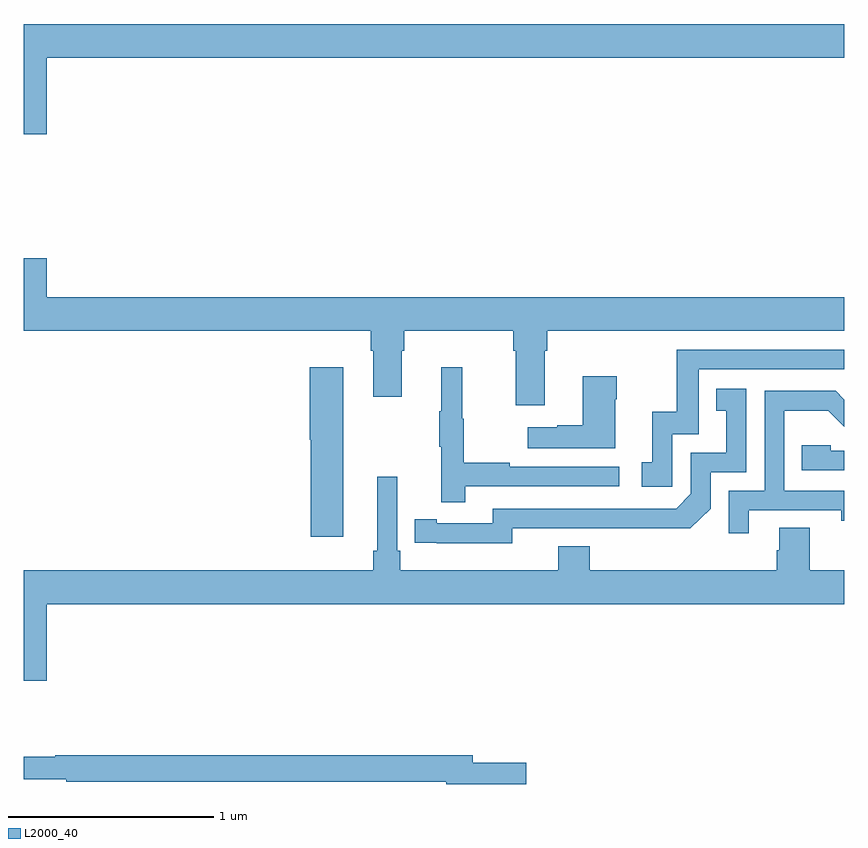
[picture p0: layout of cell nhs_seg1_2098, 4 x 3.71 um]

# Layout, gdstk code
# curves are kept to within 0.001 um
import gdstk
lib = gdstk.Library(unit=1e-6, precision=1e-09)
def P(c, l, *ps):  # polygons
    for p in ps: c.add(gdstk.Polygon(p, *l))
L2000_40 = (2000, 40)

nhs_seg1_2098 = lib.new_cell('nhs_seg1_2098')
P(nhs_seg1_2098, L2000_40, [(225.112,543.74),(229,543.74),(229,543.904),(225,543.904),(225,543.366),(225.112,543.366)],
  [(227.539,542.312),(227.552,542.312),(227.552,542.408),(229,542.408),(229,542.572),(225.112,542.572),(225.112,542.761),(225,542.761),(225,542.408),(226.691,542.408),(226.691,542.312),(226.703,542.312),(226.703,542.088),(226.843,542.088),(226.843,542.312),(226.856,542.312),(226.856,542.408),(227.387,542.408),(227.387,542.312),(227.399,542.312),(227.399,542.046),(227.539,542.046)],
  [(228.162,541.905),(228.291,541.905),(228.291,542.22),(229,542.22),(229,542.316),(228.183,542.316),(228.183,542.014),(228.065,542.014),(228.065,541.767),(228.012,541.767),(228.012,541.647),(228.162,541.647)],
  [(226.558,542.23),(226.394,542.23),(226.394,541.878),(226.4,541.878),(226.4,541.404),(226.558,541.404)],
  [(227.153,541.65),(227.902,541.65),(227.902,541.746),(227.369,541.746),(227.369,541.766),(227.146,541.766),(227.146,541.98),(227.138,541.98),(227.138,542.23),(227.036,542.23),(227.036,542.017),(227.025,542.017),(227.025,541.843),(227.036,541.843),(227.036,541.572),(227.153,541.572)],
  [(227.884,542.075),(227.892,542.075),(227.892,542.188),(227.726,542.188),(227.726,541.949),(227.6,541.949),(227.6,541.939),(227.457,541.939),(227.457,541.835),(227.884,541.835)],
  [(227.382,541.446),(228.25,541.445),(228.348,541.542),(228.348,541.719),(228.522,541.719),(228.522,542.125),(228.376,542.125),(228.376,542.019),(228.425,542.019),(228.425,541.815),(228.252,541.815),(228.252,541.614),(228.18,541.542),(227.286,541.542),(227.286,541.47),(227.014,541.47),(227.014,541.49),(226.906,541.49),(226.906,541.374),(227.382,541.373)],
  [(228.535,541.533),(228.986,541.533),(228.986,541.482),(229,541.482),(229,541.629),(228.708,541.629),(228.708,542.018),(228.922,542.018),(229,541.94),(229,542.073),(228.958,542.115),(228.612,542.115),(228.612,541.629),(228.438,541.629),(228.438,541.422),(228.535,541.422)],
  [(229,541.824),(228.933,541.824),(228.933,541.851),(228.793,541.851),(228.793,541.728),(229,541.728)],
  [(225.112,541.076),(229,541.076),(229,541.24),(228.831,541.24),(228.831,541.448),(228.683,541.448),(228.683,541.338),(228.671,541.338),(228.671,541.24),(227.759,541.24),(227.759,541.357),(227.606,541.357),(227.606,541.24),(226.835,541.24),(226.835,541.336),(226.821,541.336),(226.821,541.696),(226.724,541.696),(226.724,541.336),(226.705,541.336),(226.705,541.24),(225,541.24),(225,540.702),(225.112,540.702)],
  [(227.449,540.302),(227.188,540.302),(227.188,540.338),(225.154,540.338),(225.154,540.331),(225,540.331),(225,540.222),(225.208,540.222),(225.208,540.21),(227.06,540.21),(227.06,540.199),(227.449,540.199)])

lib.write_gds('nhs_seg1_2098.gds')
